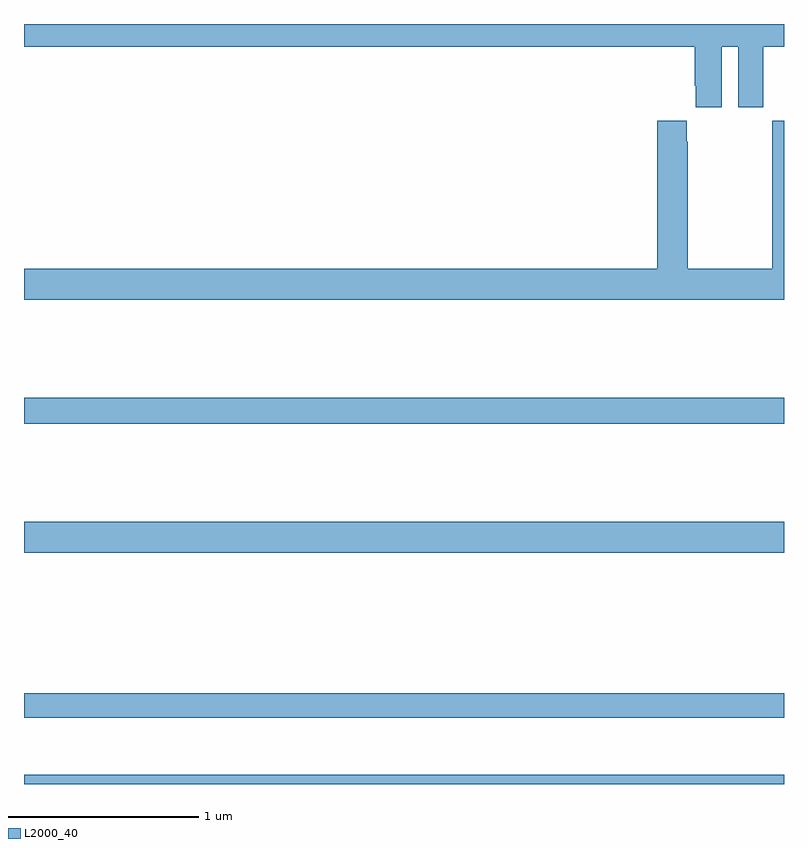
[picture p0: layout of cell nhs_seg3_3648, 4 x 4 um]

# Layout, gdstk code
import gdstk
lib = gdstk.Library(unit=1e-6, precision=1e-09)
def R(c, l, rs):  # rectangles x0, y0, x1, y1
    for r in rs: c.add(gdstk.rectangle(r[:2], r[2:], *l))
def P(c, l, *ps):  # polygons
    for p in ps: c.add(gdstk.Polygon(p, *l))
L2000_40 = (2000, 40)

nhs_seg3_3648 = lib.new_cell('nhs_seg3_3648')
R(nhs_seg3_3648, L2000_40, [(301,666.4,305,666.448), (301,666.75,305,666.878), (301,667.616,305,667.78), (301,668.296,305,668.432)])
P(nhs_seg3_3648, L2000_40, [(304.672,670.28),(304.76,670.28),(304.76,669.963),(304.891,669.963),(304.891,670.28),(305,670.28),(305,670.4),(301,670.4),(301,670.28),(304.529,670.28),(304.529,670.075),(304.535,670.075),(304.535,669.963),(304.672,669.963)],
  [(305,669.892),(304.939,669.892),(304.939,669.112),(304.494,669.112),(304.494,669.779),(304.489,669.779),(304.489,669.892),(304.334,669.892),(304.334,669.112),(301,669.112),(301,668.948),(305,668.948)])

lib.write_gds('nhs_seg3_3648.gds')
